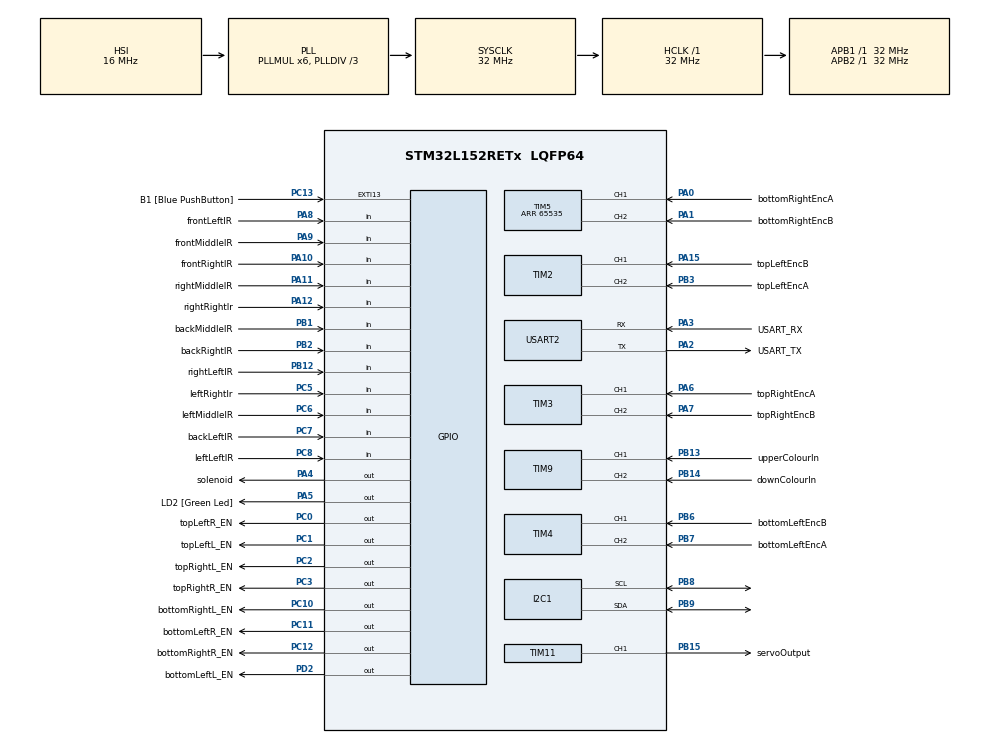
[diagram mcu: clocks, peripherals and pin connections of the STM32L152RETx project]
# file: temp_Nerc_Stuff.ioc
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Mcu.Family=STM32L1
Mcu.Name=STM32L152RETx
Mcu.Package=LQFP64
NVIC.PriorityGroup=NVIC_PRIORITYGROUP_0
NVIC.TIM9_IRQn=true\:0\:0\:false\:false\:true\:true\:true\:true
PA0-WKUP1.GPIO_Label=bottomRightEncA
PA0-WKUP1.Signal=S_TIM5_CH1
PA1.GPIO_Label=bottomRightEncB
PA1.Signal=S_TIM5_CH2
PA10.GPIO_Label=frontRightIR
PA10.Signal=GPIO_Input
PA11.GPIO_Label=rightMiddleIR
PA11.Signal=GPIO_Input
PA12.GPIO_Label=rightRightIr
PA12.Signal=GPIO_Input
PA13.GPIO_Label=TMS
PA13.Mode=Serial_Wire
PA13.Signal=SYS_JTMS-SWDIO
PA14.GPIO_Label=TCK
PA14.Mode=Serial_Wire
PA14.Signal=SYS_JTCK-SWCLK
PA15.GPIO_Label=topLeftEncB
PA15.Signal=S_TIM2_CH1_ETR
PA2.GPIO_Label=USART_TX
PA2.Mode=Asynchronous
PA2.Signal=USART2_TX
PA3.GPIO_Label=USART_RX
PA3.Mode=Asynchronous
PA3.Signal=USART2_RX
PA4.GPIO_Label=solenoid
PA4.Signal=GPIO_Output
PA5.GPIO_Label=LD2 [Green Led]
PA5.Signal=GPIO_Output
PA6.GPIO_Label=topRightEncA
PA6.Signal=S_TIM3_CH1
PA7.GPIO_Label=topRightEncB
PA7.Signal=S_TIM3_CH2
PA8.GPIO_Label=frontLeftIR
PA8.Signal=GPIO_Input
PA9.GPIO_Label=frontMiddleIR
PA9.Signal=GPIO_Input
PB1.GPIO_Label=backMiddleIR
PB1.Signal=GPIO_Input
PB12.GPIO_Label=rightLeftIR
PB12.Signal=GPIO_Input
PB13.GPIO_Label=upperColourIn
PB13.Signal=S_TIM9_CH1
PB14.GPIO_Label=downColourIn
PB14.Signal=S_TIM9_CH2
PB15.GPIO_Label=servoOutput
PB15.Signal=S_TIM11_CH1
PB2.GPIO_Label=backRightIR
PB2.Signal=GPIO_Input
PB3.GPIO_Label=topLeftEncA
PB3.Signal=S_TIM2_CH2
PB6.GPIO_Label=bottomLeftEncB
PB6.Signal=S_TIM4_CH1
PB7.GPIO_Label=bottomLeftEncA
PB7.Signal=S_TIM4_CH2
PB8.Mode=I2C
PB8.Signal=I2C1_SCL
PB9.Mode=I2C
PB9.Signal=I2C1_SDA
PC0.GPIO_Label=topLeftR_EN
PC0.Signal=GPIO_Output
PC1.GPIO_Label=topLeftL_EN
PC1.Signal=GPIO_Output
PC10.GPIO_Label=bottomRightL_EN
PC10.Signal=GPIO_Output
PC11.GPIO_Label=bottomLeftR_EN
PC11.Signal=GPIO_Output
PC12.GPIO_Label=bottomRightR_EN
PC12.Signal=GPIO_Output
PC13-WKUP2.GPIO_Label=B1 [Blue PushButton]
PC13-WKUP2.Signal=GPXTI13
PC14-OSC32_IN.Mode=LSE-External-Oscillator
PC14-OSC32_IN.Signal=RCC_OSC32_IN
PC15-OSC32_OUT.Mode=LSE-External-Oscillator
PC15-OSC32_OUT.Signal=RCC_OSC32_OUT
PC2.GPIO_Label=topRightL_EN
PC2.Signal=GPIO_Output
PC3.GPIO_Label=topRightR_EN
PC3.Signal=GPIO_Output
PC5.GPIO_Label=leftRightIr
PC5.Signal=GPIO_Input
PC6.GPIO_Label=leftMiddleIR
PC6.Signal=GPIO_Input
PC7.GPIO_Label=backLeftIR
PC7.Signal=GPIO_Input
PC8.GPIO_Label=leftLeftIR
PC8.Signal=GPIO_Input
PD2.GPIO_Label=bottomLeftL_EN
PD2.Signal=GPIO_Output
PH0-OSC_IN.Mode=HSE-External-Clock-Source
PH0-OSC_IN.Signal=RCC_OSC_IN
PH1-OSC_OUT.Signal=RCC_OSC_OUT
ProjectManager.HeapSize=0x200
ProjectManager.StackSize=0x400
ProjectManager.TargetToolchain=STM32CubeIDE
RCC.48MHZClocksFreq_Value=48000000
RCC.AHBFreq_Value=32000000
RCC.APB1Freq_Value=32000000
RCC.APB1TimFreq_Value=32000000
RCC.APB2Freq_Value=32000000
RCC.APB2TimFreq_Value=32000000
RCC.HCLKFreq_Value=32000000
RCC.HSE_VALUE=8000000
RCC.HSI_VALUE=16000000
RCC.MSI_VALUE=2097000
RCC.PLLDIV=RCC_PLL_DIV3
RCC.PLLMUL=RCC_PLL_MUL6
RCC.RTCClockSelectionVirtual=RCC_RTCCLKSOURCE_LSE
RCC.SYSCLKFreq_VALUE=32000000
RCC.SYSCLKSource=RCC_SYSCLKSOURCE_PLLCLK
RCC.USBOutput=48000000
RCC.VCOOutputFreq_Value=96000000
SH.S_TIM11_CH1.0=TIM11_CH1,PWM Generation1 CH1
SH.S_TIM2_CH1_ETR.0=TIM2_CH1,Encoder_Interface
SH.S_TIM2_CH2.0=TIM2_CH2,Encoder_Interface
SH.S_TIM3_CH1.0=TIM3_CH1,Encoder_Interface
SH.S_TIM3_CH2.0=TIM3_CH2,Encoder_Interface
SH.S_TIM4_CH1.0=TIM4_CH1,Encoder_Interface
SH.S_TIM4_CH2.0=TIM4_CH2,Encoder_Interface
SH.S_TIM5_CH1.0=TIM5_CH1,Encoder_Interface
SH.S_TIM5_CH2.0=TIM5_CH2,Encoder_Interface
SH.S_TIM9_CH1.0=TIM9_CH1,Input_Capture1_from_TI1
SH.S_TIM9_CH2.0=TIM9_CH2,Input_Capture2_from_TI2
TIM11.Channel=TIM_CHANNEL_1
TIM11.Period=19999
TIM11.Prescaler=31
TIM11.Pulse=1200
TIM2.EncoderMode=TIM_ENCODERMODE_TI12
TIM2.IC1Filter=10
TIM2.IC2Filter=10
TIM3.EncoderMode=TIM_ENCODERMODE_TI12
TIM3.IC1Filter=10
TIM3.IC2Filter=10
TIM4.EncoderMode=TIM_ENCODERMODE_TI12
TIM4.IC1Filter=10
TIM4.IC2Filter=10
TIM5.EncoderMode=TIM_ENCODERMODE_TI12
TIM5.IC1Filter=10
TIM5.IC2Filter=10
TIM5.Period=65535
TIM9.Channel-Input_Capture1_from_TI1=TIM_CHANNEL_1
TIM9.Channel-Input_Capture2_from_TI2=TIM_CHANNEL_2
USART2.VirtualMode=VM_ASYNC
VP_TIM11_VS_ClockSourceINT.Mode=Internal
VP_TIM9_VS_ClockSourceINT.Mode=Internal
board=NUCLEO-L152RE

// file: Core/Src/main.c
/* USER CODE BEGIN Header */
/**
  ******************************************************************************
  * @file           : main.c
  * @brief          : Main program body
  ******************************************************************************
  * @attention
  *
  * Copyright (c) 2026 STMicroelectronics.
  * All rights reserved.
  *
  * This software is licensed under terms that can be found in the LICENSE file
  * in the root directory of this software component.
  * If no LICENSE file comes with this software, it is provided AS-IS.
  *
  ******************************************************************************
  */
/* USER CODE END Header */
#include "main.h"

/* USER CODE BEGIN Includes */
#include <stdio.h>
/* USER CODE END Includes */

/* USER CODE BEGIN PTD */
volatile int rawVal2 = 0;
volatile int rawVal3 = 0;
volatile int rawVal4 = 0;
volatile int rawVal5 = 0;
volatile int leftIr = 0;
volatile int middleIr = 0;
volatile int rightIr = 0;

volatile uint16_t captureValueUp = 0;
volatile uint16_t previousCaptureValueUp = 0;
volatile uint32_t frequencyUp = 0;

volatile uint16_t captureValueDown = 0;
volatile uint16_t previousCaptureValueDown = 0;
volatile uint32_t frequencyDown = 0;

uint32_t timerFreq;

typedef struct
{
	double intState;
	double drevState;
	int reached;
	int32_t totalPos;
	uint16_t prevPos;
} pidState;

typedef struct
{
	int pin1;
	int pin2;
	uint16_t rightEnPin;
	uint16_t leftEnPin;
	GPIO_TypeDef * rightEnPort;
	GPIO_TypeDef * leftEnPort;
	double kp;
	double ki;
	double kd;
	double kf;
	TIM_HandleTypeDef* encTimer;
} portsAndPins;

typedef struct
{
	uint16_t leftPin;
	GPIO_TypeDef * leftPort;
	uint16_t middlePin;
	GPIO_TypeDef * middlePort;
	uint16_t rightPin;
	GPIO_TypeDef * rightPort;
} irPins;
/* USER CODE END PTD */

/* USER CODE BEGIN PD */
#define PCA9685_ADDRESS (0x40 << 1)
#define PCA9685_MODE1         0x0
#define PCA9685_PRE_SCALE     0xFE
#define PCA9685_LED0_ON_L     0x6
#define PCA9685_MODE1_SLEEP_BIT      4
#define PCA9685_MODE1_AI_BIT         5
#define PCA9685_MODE1_RESTART_BIT    7
/* USER CODE END PD */

I2C_HandleTypeDef hi2c1;

TIM_HandleTypeDef htim2;
TIM_HandleTypeDef htim3;
TIM_HandleTypeDef htim4;
TIM_HandleTypeDef htim5;
TIM_HandleTypeDef htim9;
TIM_HandleTypeDef htim11;

UART_HandleTypeDef huart2;

/* USER CODE BEGIN PV */
//first ku = 2.75 and tu is 4.50143 second ku = 3.45 and tu is 4.5162 third ku is 3.35 and tu is 4.730475 foruth ku = 3.15 and tu = 4.5153
//first ku = 3.85 and tu is 7.49915 second ku = 4.4 and tu is 7.34447 third ku is 4.35 and tu is 7.7961 foruth ku = 3.9 and tu = 7.39478
const portsAndPins motors[4] = {{0, 1, topLeftR_EN_Pin, topLeftL_EN_Pin, topLeftR_EN_GPIO_Port, topLeftL_EN_GPIO_Port, 1.7325, 27.723, 0, 0.256, &htim2},
							{2, 3, topRightR_EN_Pin, topRightL_EN_Pin, topRightR_EN_GPIO_Port, topRightL_EN_GPIO_Port, 1.98, 32.371, 0, 0.276,&htim3},
							{4, 5, bottomLeftR_EN_Pin, bottomLeftL_EN_Pin, bottomLeftR_EN_GPIO_Port, bottomLeftL_EN_GPIO_Port, 1.9575, 30.130, 0, 0.248,&htim4},
							{6, 7, bottomRightR_EN_Pin, bottomRightL_EN_Pin, bottomRightR_EN_GPIO_Port, bottomRightL_EN_GPIO_Port, 1.755, 28.480, 0, 0.276,&htim5}};

const irPins irSensors[4] = {{frontLeftIR_Pin, frontLeftIR_GPIO_Port, frontMiddleIR_Pin, frontMiddleIR_GPIO_Port, frontRightIR_Pin, frontRightIR_GPIO_Port},
						{rightLeftIR_Pin, rightLeftIR_GPIO_Port, rightMiddleIR_Pin, rightMiddleIR_GPIO_Port, rightRightIr_Pin, rightRightIr_GPIO_Port},
						{backLeftIR_Pin, backLeftIR_GPIO_Port, backMiddleIR_Pin, backMiddleIR_GPIO_Port, backRightIR_Pin, backRightIR_GPIO_Port},
						{leftLeftIR_Pin, leftLeftIR_GPIO_Port, leftMiddleIR_Pin, leftMiddleIR_GPIO_Port, leftRightIr_Pin, leftRightIr_GPIO_Port}};

const int adjustedTargetRatios[4][4] = {{1, 1, 1, 1}, {1, -1, -1, 1}, {1, -1, 1, -1}, {0, 1, 1, 0}};
const double distanceAdjust[4] = {1, 1.0209345, 1, 1.27};
const int FORWARD = 1, BACKWARDS = 0, RIGHT = 1, LEFT = 0;
const double kpp = 3.9, kii = 0, kdd = 0, period = 0.01, alpha = 0.3;
const int intMax = 40, maxPwm = 4095, maxSpeed = 13000, minSpeed = 2000, speedAdjust = 750, breakDistance = 500, quarterTurn = 4875, upBlueFreqMin = 2100, downBlueFreqMin = 1250;

/* USER CODE END PV */

void SystemClock_Config(void);
static void MX_GPIO_Init(void);
static void MX_USART2_UART_Init(void);
static void MX_TIM2_Init(void);
static void MX_TIM3_Init(void);
static void MX_TIM4_Init(void);
static void MX_TIM5_Init(void);
static void MX_I2C1_Init(void);
static void MX_TIM11_Init(void);
static void MX_TIM9_Init(void);

/* USER CODE BEGIN 0 */

int _write(int file, char *ptr, int len)
{
	HAL_UART_Transmit(&huart2, (uint8_t *)ptr, len, HAL_MAX_DELAY);
	return len;
}

void PCA9685_SetBit(uint8_t Register, uint8_t Bit, uint8_t Value)
{
  uint8_t readValue;
  // Read all 8 bits and set only one bit to 0/1 and write all 8 bits back
  HAL_I2C_Mem_Read(&hi2c1, PCA9685_ADDRESS, Register, I2C_MEMADD_SIZE_8BIT, &readValue, 1, 10);
  if (Value == 0) readValue &= ~(1 << Bit);
  else readValue |= (1 << Bit);
  HAL_I2C_Mem_Write(&hi2c1, PCA9685_ADDRESS, Register, I2C_MEMADD_SIZE_8BIT, &readValue, 1, 10);
  HAL_Delay(1);
}

void PCA9685_SetPWMFrequency(uint16_t frequency)
{
  uint8_t prescale;
  if(frequency >= 1526) prescale = 0x03;
  else if(frequency <= 24) prescale = 0xFF;
  //  internal 25 MHz oscillator as in the datasheet page no 1/52
  else prescale = 25000000 / (4096 * frequency);
  // prescale changes 3 to 255 for 1526Hz to 24Hz as in the datasheet page no 1/52
  PCA9685_SetBit(PCA9685_MODE1, PCA9685_MODE1_SLEEP_BIT, 1);
  HAL_I2C_Mem_Write(&hi2c1, PCA9685_ADDRESS, PCA9685_PRE_SCALE, I2C_MEMADD_SIZE_8BIT, &prescale, 1, 10);
  PCA9685_SetBit(PCA9685_MODE1, PCA9685_MODE1_SLEEP_BIT, 0);
  PCA9685_SetBit(PCA9685_MODE1, PCA9685_MODE1_RESTART_BIT, 1);
}

void PCA9685_Init(uint16_t frequency)
{
  PCA9685_SetPWMFrequency(frequency); // 50 Hz for servo
  PCA9685_SetBit(PCA9685_MODE1, PCA9685_MODE1_AI_BIT, 1);
}

void PCA9685_SetPWM(uint8_t Channel, uint16_t OnTime, uint16_t OffTime)
{
  uint8_t registerAddress;
  uint8_t pwm[4];
  registerAddress = PCA9685_LED0_ON_L + (4 * Channel);
  pwm[0] = OnTime & 0xFF;
  pwm[1] = OnTime>>8;
  pwm[2] = OffTime & 0xFF;
  pwm[3] = OffTime>>8;
  HAL_I2C_Mem_Write(&hi2c1, PCA9685_ADDRESS, registerAddress, I2C_MEMADD_SIZE_8BIT, pwm, 4, 10);
}

void HAL_TIM_IC_CaptureCallback(TIM_HandleTypeDef *htim)
{
 if (htim->Channel == HAL_TIM_ACTIVE_CHANNEL_1)
 {
	 captureValueUp = HAL_TIM_ReadCapturedValue(htim, TIM_CHANNEL_1);
	 if ((captureValueUp - previousCaptureValueUp) != 0) frequencyUp = timerFreq / (captureValueUp - previousCaptureValueUp);
	 previousCaptureValueUp = captureValueUp;
 }
 if (htim->Channel == HAL_TIM_ACTIVE_CHANNEL_2)
 {
	 captureValueDown = HAL_TIM_ReadCapturedValue(htim, TIM_CHANNEL_2);
	 if ((captureValueDown - previousCaptureValueDown) != 0) frequencyDown = timerFreq / (captureValueDown - previousCaptureValueDown);
	 previousCaptureValueDown = captureValueDown;
 }
}

void shoot()
{
	HAL_GPIO_WritePin(solenoid_GPIO_Port, solenoid_Pin, GPIO_PIN_SET);
	HAL_Delay(20);
	HAL_GPIO_WritePin(solenoid_GPIO_Port, solenoid_Pin, GPIO_PIN_RESET);
	HAL_Delay(100);
}

int scanColour()
{
	__HAL_TIM_SET_COMPARE(&htim11, TIM_CHANNEL_1, 1200);
	HAL_Delay(500);
	frequencyUp = 0;
	frequencyDown = 0;
	int shotsFired = 0;
	HAL_TIM_IC_Start_IT(&htim9, TIM_CHANNEL_1);
	HAL_TIM_IC_Start_IT(&htim9, TIM_CHANNEL_2);
	HAL_Delay(25);
	HAL_TIM_IC_Stop_IT(&htim9, TIM_CHANNEL_1);
	HAL_TIM_IC_Stop_IT(&htim9, TIM_CHANNEL_2);
	if (frequencyUp != 0 && frequencyUp >= upBlueFreqMin)
	{
		shoot();
		shotsFired++;
	}
	if (frequencyDown !=0 && frequencyDown >= downBlueFreqMin)
	{
		__HAL_TIM_SET_COMPARE(&htim11, TIM_CHANNEL_1, 1500);
		HAL_Delay(500);
		shoot();
		shotsFired++;
	}
	HAL_Delay(500);
	__HAL_TIM_SET_COMPARE(&htim11, TIM_CHANNEL_1, 1200);
	HAL_Delay(270);
	return shotsFired;
}

double updateEncoder(pidState *positions, int index)
{
	int16_t current = __HAL_TIM_GET_COUNTER(motors[index].encTimer);
	int16_t diff = (int16_t)(current - positions->prevPos);
	positions->totalPos += diff;
	positions->prevPos = current;
	return (diff / period) * alpha + ((1 - alpha) * positions->drevState);
}

void oneWord(int speed, int direction, int index)
{
	PCA9685_SetPWM(motors[index].pin1, 0, direction == FORWARD ? speed : 0);
	PCA9685_SetPWM(motors[index].pin2, 0, direction == FORWARD ? 0 : speed);
}

void stop()
{
	for (int index = 0; index < 4; index++)
	{
		PCA9685_SetPWM(motors[index].pin1, 0, 0);
		PCA9685_SetPWM(motors[index].pin2, 0, 0);
	}
}

void breaking(int index)
{
	PCA9685_SetPWM(motors[index].pin1, 0, 4095);
	PCA9685_SetPWM(motors[index].pin2, 0, 4095);
}

//void sideways(int speed, int direction, int index)
//{
//	if (index == 0 || index == 3)
//	{
//		PCA9685_SetPWM(motors[index].pin1, 0, direction == RIGHT ? speed : 0);
//		PCA9685_SetPWM(motors[index].pin2, 0, direction == RIGHT ? 0 : speed);
//	}
//	else
//	{
//		PCA9685_SetPWM(motors[index].pin1, 0, direction == RIGHT ? 0 : speed);
//		PCA9685_SetPWM(motors[index].pin2, 0, direction == RIGHT ? speed : 0);
//	}
//}

//void rotate(int speed, int direction, int index)
//{
//	if (index == 0 || index == 2)
//	{
//		PCA9685_SetPWM(motors[index].pin1, 0, direction == RIGHT ? speed : 0);
//		PCA9685_SetPWM(motors[index].pin2, 0, direction == RIGHT ? 0 : speed);
//	}
//	else
//	{
//		PCA9685_SetPWM(motors[index].pin1, 0, direction == RIGHT ? 0 : speed);
//		PCA9685_SetPWM(motors[index].pin2, 0, direction == RIGHT ? speed : 0);
//	}
//}
//
//void Diagonal(const int speed, const int sidewayDir, const int oneWayDir)
//{
//	for (int index = 0; index < 4; index++)
//	{
//		__HAL_TIM_SET_COMPARE(motors[index].pwmTimer, motors[index].channel, speed);
//		if (sidewayDir == RIGHT && (index == 0 || index == 3))
//		{
//			HAL_GPIO_WritePin(motors[index].pin1Port, motors[index].pin1Pin, oneWayDir == FORWARD ? GPIO_PIN_SET : GPIO_PIN_RESET);
//			HAL_GPIO_WritePin(motors[index].pin2Port, motors[index].pin2Pin, oneWayDir == FORWARD ? GPIO_PIN_RESET : GPIO_PIN_SET);
//		}
//		else if (sidewayDir == LEFT && (index == 1 || index == 2))
//		{
//			HAL_GPIO_WritePin(motors[index].pin1Port, motors[index].pin1Pin, oneWayDir == FORWARD ? GPIO_PIN_RESET : GPIO_PIN_SET);
//			HAL_GPIO_WritePin(motors[index].pin2Port, motors[index].pin2Pin, oneWayDir == FORWARD ? GPIO_PIN_SET : GPIO_PIN_RESET);
//		}
//    }
//}

double updatePid(pidState *pid, double error, double velocity, int index)
{
	double propVal = 0, intVal = 0, dervVal = 0;
	propVal = motors[index].kp * error;
	pid->intState += error * period;
	dervVal = motors[index].kd * ((velocity - pid->drevState) / period);
	pid->intState = pid->intState > intMax ? intMax : pid->intState;
	pid->intState = pid->intState < -intMax ? -intMax : pid->intState;
	intVal = pid->intState * motors[index].ki;
	pid->drevState = velocity;
	return propVal + intVal + dervVal;
}

void onewordPid(double target, int mode, int irEnable, int junction, int maxSpeeeed)
{
	int prevJuncPos = 0;
	int junctionCount = 0;
	target = target * distanceAdjust[mode];
	int targetSpeed = maxSpeeeed;
	int adjustRatio = 0;
	uint32_t prevTick = HAL_GetTick();
	pidState motorState[4];
	for (int index = 0; index < 4; index++)
	{
		__HAL_TIM_SET_COUNTER(motors[index].encTimer, 0);
		motorState[index].drevState = 0;
		motorState[index].reached = 0;
		motorState[index].intState = 0;
		motorState[index].prevPos = 0;
		motorState[index].totalPos = 0;
		HAL_GPIO_WritePin(motors[index].rightEnPort, motors[index].rightEnPin, GPIO_PIN_SET);
		HAL_GPIO_WritePin(motors[index].leftEnPort, motors[index].leftEnPin, GPIO_PIN_SET);

	}
	while (1)
	{
		if (HAL_GetTick() - prevTick >= (uint32_t)(period * 1000))
		{
			if ((mode == 0 || mode == 1) && irEnable)
			{
				irPins irRay = irSensors[mode + (target < 0 ? 2 : 0)];
				leftIr = HAL_GPIO_ReadPin(irRay.leftPort, irRay.leftPin);
				middleIr = HAL_GPIO_ReadPin(irRay.middlePort, irRay.middlePin);
				rightIr = HAL_GPIO_ReadPin(irRay.rightPort, irRay.rightPin);
				if (leftIr && !middleIr) adjustRatio = -2;
				else if (leftIr && middleIr) adjustRatio = -1;
				else if (rightIr && !middleIr) adjustRatio = 2;
				else if (rightIr && middleIr) adjustRatio = 1;
				else adjustRatio = 0;
			}

			int32_t averagePosition = ((motorState[0].totalPos * adjustedTargetRatios[mode][0]) +
										(motorState[1].totalPos * adjustedTargetRatios[mode][1]) +
										(motorState[2].totalPos * adjustedTargetRatios[mode][2]) +
										(motorState[3].totalPos * adjustedTargetRatios[mode][3])) / (mode == 3 ? 2 : 4);

			if (junction)
			{
				irPins junctionIr = irSensors[(mode == 0 ? (junction < 0 ? 3 : 1) : (junction < 0 ? 0 : 2))];
				if (HAL_GPIO_ReadPin(junctionIr.middlePort, junctionIr.middlePin) && (averagePosition - prevJuncPos >= 3350))
				{
					prevJuncPos = averagePosition;
					junctionCount++;
				}
			}

			printf("%d,%d,%d,%d\n", rawVal2, rawVal3, rawVal4, rawVal5);
			for (int index = 0; index < 4; index++)
			{
				double currentSpeed = updateEncoder(&motorState[index], index);
				if (index == 0) rawVal2 = currentSpeed;
				if (index == 1) rawVal3 = currentSpeed;
				if (index == 2) rawVal4 = currentSpeed;
				if (index == 3) rawVal5 = currentSpeed;
				if (!junction && motorState[index].reached) continue;

				int distanceAway = adjustedTargetRatios[mode][index] * (target - averagePosition);
				if (distanceAway > breakDistance) targetSpeed = maxSpeeeed;
				else if (distanceAway < -breakDistance) targetSpeed = -maxSpeeeed;
				else
				{
					motorState[index].intState = 0;
					targetSpeed = (maxSpeeeed * distanceAway) / breakDistance;
					if (targetSpeed > 0 && targetSpeed < minSpeed) targetSpeed = minSpeed;
					if (targetSpeed < 0 && targetSpeed > -minSpeed) targetSpeed = -minSpeed;
				}
				if (junction) targetSpeed = maxSpeeeed;

				if (adjustRatio && (index == 0 || index == 2)) targetSpeed += speedAdjust * adjustRatio;
				else if (adjustRatio) targetSpeed += -(speedAdjust * adjustRatio);
				targetSpeed = targetSpeed > maxSpeeeed ? maxSpeeeed : targetSpeed;
				targetSpeed = targetSpeed < -maxSpeeeed ? -maxSpeeeed : targetSpeed;

				int error = targetSpeed - currentSpeed;
				double pwmVal = updatePid(&motorState[index], error, currentSpeed, index) + (motors[index].kf * targetSpeed);
				if (adjustedTargetRatios[mode][index] == 0) pwmVal = 0;
				int absPwm = (int)(pwmVal < 0 ? -pwmVal : pwmVal);
//				absPwm = 4095; pwmVal = 4095;
				oneWord(absPwm > maxPwm ? maxPwm : absPwm, pwmVal < 0 ? BACKWARDS : FORWARD, index);

				if (!junction && distanceAway < 50 && distanceAway > -50)
				{
					motorState[index].reached = 1;
					motorState[index].intState = 0;
				}
				else motorState[index].reached = 0;
			}
			prevTick += (uint32_t)(period * 1000);
		}
		if ((!junction && (motorState[0].reached && motorState[1].reached && motorState[2].reached && motorState[3].reached)) ||
			(junction && junctionCount == (junction < 0 ? -junction : junction)))
		{
			for (int index = 0; index < 4; index++) breaking(index);
			break;
		}
	}
}

void allign(int straighSensor, int sidewaysSensor)
{
	irPins straightIrRay = irSensors[straighSensor < 0 ? 2 : 0];
	irPins sidewaysIrRay = irSensors[sidewaysSensor < 0 ? 3 : 1];
	int straightLeftIr = HAL_GPIO_ReadPin(straightIrRay.leftPort, straightIrRay.leftPin);
	int straighMiddleIr = HAL_GPIO_ReadPin(straightIrRay.middlePort, straightIrRay.middlePin);
	int straightRightIr = HAL_GPIO_ReadPin(straightIrRay.rightPort, straightIrRay.rightPin);

	int sidewaysLeftIr = HAL_GPIO_ReadPin(sidewaysIrRay.leftPort, sidewaysIrRay.leftPin);
	int sidewaysMiddleIr = HAL_GPIO_ReadPin(sidewaysIrRay.middlePort, sidewaysIrRay.middlePin);
	int sidewaysRightIr = HAL_GPIO_ReadPin(sidewaysIrRay.rightPort, sidewaysIrRay.rightPin);

	if (straightLeftIr && sidewaysLeftIr) onewordPid(-500, 2, 0, 0, 5000);
	else if (straightRightIr&& sidewaysRightIr) onewordPid(500, 2, 0, 0, 5000);
}

//void onewordPid(int target)
//{
//	uint32_t prevTick = HAL_GetTick();
//	pidState motorState[4];
//	for (int index = 0; index < 4; index++)
//	{
//		__HAL_TIM_SET_COUNTER(motors[index].encTimer, 0);
//		motorState[index].drevState = 0;
//		motorState[index].reached = 0;
//		motorState[index].intState = 0;
//		motorState[index].prevPos = 0;
//		motorState[index].totalPos = 0;
//	}
//	while (!(motorState[0].reached && motorState[1].reached && motorState[2].reached && motorState[3].reached))
//	{
//		rawVal2 = __HAL_TIM_GET_COUNTER(&htim2);
//		rawVal3 = __HAL_TIM_GET_COUNTER(&htim3);
//		rawVal4 = __HAL_TIM_GET_COUNTER(&htim4);
//		rawVal5 = __HAL_TIM_GET_COUNTER(&htim5);
//		if (HAL_GetTick() - prevTick >= 10)
//		{
//			for (int index = 0; index < 4; index++)
//			{
//				updateEncoder(&motorState[index], index);
//				int error = target - motorState[index].totalPos;
//				double speed = updatePid(&motorState[index], error, motorState[index].totalPos);
//				int absSpeed = speed < 0 ? speed * -1 : speed;
//				OneWord(absSpeed > maxSpeed ? maxSpeed : absSpeed, speed < 0 ? BACKWARDS : FORWARD, index);
//				if (error < 250 && error > -250) motorState[index].reached = 1;
//				else motorState[index].reached = 0;
//			}
//			prevTick = HAL_GetTick();
//		}
//	}
//	Stop();
//}

/* USER CODE END 0 */

int main(void)
{

  /* MCU Configuration--------------------------------------------------------*/

  /* Reset of all peripherals, Initializes the Flash interface and the Systick. */
  HAL_Init();

  /* Configure the system clock */
  SystemClock_Config();

  /* Initialize all configured peripherals */
  MX_GPIO_Init();
  MX_USART2_UART_Init();
  MX_TIM2_Init();
  MX_TIM3_Init();
  MX_TIM4_Init();
  MX_TIM5_Init();
  MX_I2C1_Init();
  MX_TIM11_Init();
  MX_TIM9_Init();
  /* USER CODE BEGIN 2 */
  extern UART_HandleTypeDef huart2;
  PCA9685_Init(1526);
  HAL_TIM_Encoder_Start(&htim2, TIM_CHANNEL_1);
  HAL_TIM_Encoder_Start(&htim2, TIM_CHANNEL_2);
  HAL_TIM_Encoder_Start(&htim3, TIM_CHANNEL_1);
  HAL_TIM_Encoder_Start(&htim3, TIM_CHANNEL_2);
  HAL_TIM_Encoder_Start(&htim4, TIM_CHANNEL_1);
  HAL_TIM_Encoder_Start(&htim4, TIM_CHANNEL_2);
  HAL_TIM_Encoder_Start(&htim5, TIM_CHANNEL_1);
  HAL_TIM_Encoder_Start(&htim5, TIM_CHANNEL_2);
  HAL_TIM_PWM_Start(&htim11, TIM_CHANNEL_1);

  for (int index = 0; index < 16; index++)
  {
	  if (index < 4)
	  {
		  HAL_GPIO_WritePin(motors[index].rightEnPort, motors[index].rightEnPin, GPIO_PIN_SET);
		  HAL_GPIO_WritePin(motors[index].leftEnPort, motors[index].leftEnPin, GPIO_PIN_SET);
	  }
	  PCA9685_SetPWM(index, 0, 0);
  }
  timerFreq = HAL_RCC_GetPCLK2Freq();
  /* USER CODE END 2 */

  /* Infinite loop */
  /* USER CODE BEGIN WHILE */
  //29400 for rotation
  HAL_Delay(500);
//  onewordPid(60000,0, 0, 0);

  onewordPid(25377.7331, 0, 1, 0, maxSpeed);
  onewordPid(2 * quarterTurn, 2, 0, 0, maxSpeed);
  onewordPid(40748.75, 0, 1, 0, maxSpeed);
  onewordPid(2 * quarterTurn, 2, 0, 0, maxSpeed);
  onewordPid(8616.8655, 0, 1, 0, maxSpeed);
  onewordPid(2 * quarterTurn, 2, 0, 0, maxSpeed);
  int s1 = scanColour();
  onewordPid(-2740.64, 1, 0, 0, maxSpeed);
  s1 += scanColour();
  if (s1 < 2) shoot();
  if (s1 == 0)
  {
	  __HAL_TIM_SET_COMPARE(&htim11, TIM_CHANNEL_1, 1500);
	  HAL_Delay(500);
	  shoot();
  }
  __HAL_TIM_SET_COMPARE(&htim11, TIM_CHANNEL_1, 1200);
  onewordPid(1370.32, 1, 0, 0, maxSpeed);
  onewordPid(-2 * quarterTurn, 2, 0, 0, maxSpeed);
  onewordPid(20374.379, 0, 1, 0, maxSpeed);
  onewordPid(-2 * quarterTurn, 2, 0, 0, maxSpeed);
  onewordPid(29224.66779, 0, 1, 0, maxSpeed);
  onewordPid(2 * quarterTurn, 2, 0, 0, maxSpeed);
  onewordPid(3255, 0, 1, 0, maxSpeed);
  scanColour();
  onewordPid(-2673.80304, 1, 0, 0, maxSpeed);
  scanColour();
  onewordPid(1336.90152197, 1, 0, 0, maxSpeed);
  onewordPid(-10187.189, 1, 0, 0, maxSpeed);
  onewordPid(-23630, 0, 1, 0, maxSpeed);
  onewordPid(10187.189, 1, 0, 0, maxSpeed);
  onewordPid(4 * quarterTurn, 2, 0, 0, maxSpeed);
  onewordPid(16000, 3, 0, 0, maxSpeed);
  onewordPid((20374.379 * 1.30943) + 8000, 0, 1, 0, maxSpeed);
  onewordPid(-2 * quarterTurn, 2, 0, 0, maxSpeed);
  onewordPid(13944, 0, 1, 0, maxSpeed);
  onewordPid(-1336.90152197, 1, 0, 0, maxSpeed);
  scanColour();
  onewordPid(2673.80304, 1, 0, 0, maxSpeed);
  scanColour();
  onewordPid(-1336.90152197, 1, 0, 0, maxSpeed);
  onewordPid(-24300, 1, 0, 0, maxSpeed);

//  onewordPid(-20374.379, 1, 1);
//  -25838.9641
//  onewordPid(-25544.845, 1, 1, 0, maxSpeed);
//  onewordPid(20374.379, 0, 1, 0, maxSpeed);
//  onewordPid(20374.379, 1, 1, 0, maxSpeed);
//  onewordPid(61123.137, 0, 1, 0, maxSpeed);
//  onewordPid(-10187.189, 1, 0, 0, maxSpeed);
//  onewordPid(-10187.189, 0, 0, 0, maxSpeed);
//  onewordPid(quarterTurn * -2, 2, 0, 0, maxSpeed);
//  onewordPid(16000, 3, 0, 0, maxSpeed);
//  onewordPid((20374.379 * 1.30943) + 8000, 0, 1, 0, 10000);
  while (1)
  {
	  leftIr = HAL_GPIO_ReadPin(frontLeftIR_GPIO_Port, frontLeftIR_Pin);
	  middleIr = HAL_GPIO_ReadPin(frontMiddleIR_GPIO_Port, frontMiddleIR_Pin);
	  rightIr = HAL_GPIO_ReadPin(frontRightIR_GPIO_Port, frontRightIR_Pin);
	  //	  __HAL_TIM_SET_COMPARE(motors[1].pwmTimer, motors[1].channel, 500);
	  //	  HAL_GPIO_WritePin(motors[1].pin1Port, motors[1].pin1Pin, GPIO_PIN_SET);
	  //	  HAL_GPIO_WritePin(motors[1].pin2Port, motors[1].pin2Pin, GPIO_PIN_RESET);
    /* USER CODE END WHILE */

  }
}

void SystemClock_Config(void)
{
  RCC_OscInitTypeDef RCC_OscInitStruct = {0};
  RCC_ClkInitTypeDef RCC_ClkInitStruct = {0};

  /** Configure the main internal regulator output voltage
  */
  __HAL_PWR_VOLTAGESCALING_CONFIG(PWR_REGULATOR_VOLTAGE_SCALE1);

  /** Initializes the RCC Oscillators according to the specified parameters
  * in the RCC_OscInitTypeDef structure.
  */
  RCC_OscInitStruct.OscillatorType = RCC_OSCILLATORTYPE_HSI;
  RCC_OscInitStruct.HSIState = RCC_HSI_ON;
  RCC_OscInitStruct.HSICalibrationValue = RCC_HSICALIBRATION_DEFAULT;
  RCC_OscInitStruct.PLL.PLLState = RCC_PLL_ON;
  RCC_OscInitStruct.PLL.PLLSource = RCC_PLLSOURCE_HSI;
  RCC_OscInitStruct.PLL.PLLMUL = RCC_PLL_MUL6;
  RCC_OscInitStruct.PLL.PLLDIV = RCC_PLL_DIV3;
  if (HAL_RCC_OscConfig(&RCC_OscInitStruct) != HAL_OK)
  {
    Error_Handler();
  }

  /** Initializes the CPU, AHB and APB buses clocks
  */
  RCC_ClkInitStruct.ClockType = RCC_CLOCKTYPE_HCLK|RCC_CLOCKTYPE_SYSCLK
                              |RCC_CLOCKTYPE_PCLK1|RCC_CLOCKTYPE_PCLK2;
  RCC_ClkInitStruct.SYSCLKSource = RCC_SYSCLKSOURCE_PLLCLK;
  RCC_ClkInitStruct.AHBCLKDivider = RCC_SYSCLK_DIV1;
  RCC_ClkInitStruct.APB1CLKDivider = RCC_HCLK_DIV1;
  RCC_ClkInitStruct.APB2CLKDivider = RCC_HCLK_DIV1;

  if (HAL_RCC_ClockConfig(&RCC_ClkInitStruct, FLASH_LATENCY_1) != HAL_OK)
  {
    Error_Handler();
  }
}

static void MX_I2C1_Init(void)
{

  hi2c1.Instance = I2C1;
  hi2c1.Init.ClockSpeed = 100000;
  hi2c1.Init.DutyCycle = I2C_DUTYCYCLE_2;
  hi2c1.Init.OwnAddress1 = 0;
  hi2c1.Init.AddressingMode = I2C_ADDRESSINGMODE_7BIT;
  hi2c1.Init.DualAddressMode = I2C_DUALADDRESS_DISABLE;
  hi2c1.Init.OwnAddress2 = 0;
  hi2c1.Init.GeneralCallMode = I2C_GENERALCALL_DISABLE;
  hi2c1.Init.NoStretchMode = I2C_NOSTRETCH_DISABLE;
  if (HAL_I2C_Init(&hi2c1) != HAL_OK)
  {
    Error_Handler();
  }

}

static void MX_TIM2_Init(void)
{

  TIM_Encoder_InitTypeDef sConfig = {0};
  TIM_MasterConfigTypeDef sMasterConfig = {0};

  htim2.Instance = TIM2;
  htim2.Init.Prescaler = 0;
  htim2.Init.CounterMode = TIM_COUNTERMODE_UP;
  htim2.Init.Period = 65535;
  htim2.Init.ClockDivision = TIM_CLOCKDIVISION_DIV1;
  htim2.Init.AutoReloadPreload = TIM_AUTORELOAD_PRELOAD_DISABLE;
  sConfig.EncoderMode = TIM_ENCODERMODE_TI12;
  sConfig.IC1Polarity = TIM_ICPOLARITY_RISING;
  sConfig.IC1Selection = TIM_ICSELECTION_DIRECTTI;
  sConfig.IC1Prescaler = TIM_ICPSC_DIV1;
  sConfig.IC1Filter = 10;
  sConfig.IC2Polarity = TIM_ICPOLARITY_RISING;
  sConfig.IC2Selection = TIM_ICSELECTION_DIRECTTI;
  sConfig.IC2Prescaler = TIM_ICPSC_DIV1;
  sConfig.IC2Filter = 10;
  if (HAL_TIM_Encoder_Init(&htim2, &sConfig) != HAL_OK)
  {
    Error_Handler();
  }
  sMasterConfig.MasterOutputTrigger = TIM_TRGO_RESET;
  sMasterConfig.MasterSlaveMode = TIM_MASTERSLAVEMODE_DISABLE;
  if (HAL_TIMEx_MasterConfigSynchronization(&htim2, &sMasterConfig) != HAL_OK)
  {
    Error_Handler();
  }

}

static void MX_TIM3_Init(void)
{

  TIM_Encoder_InitTypeDef sConfig = {0};
  TIM_MasterConfigTypeDef sMasterConfig = {0};

  htim3.Instance = TIM3;
  htim3.Init.Prescaler = 0;
  htim3.Init.CounterMode = TIM_COUNTERMODE_UP;
  htim3.Init.Period = 65535;
  htim3.Init.ClockDivision = TIM_CLOCKDIVISION_DIV1;
  htim3.Init.AutoReloadPreload = TIM_AUTORELOAD_PRELOAD_DISABLE;
  sConfig.EncoderMode = TIM_ENCODERMODE_TI12;
  sConfig.IC1Polarity = TIM_ICPOLARITY_RISING;
  sConfig.IC1Selection = TIM_ICSELECTION_DIRECTTI;
  sConfig.IC1Prescaler = TIM_ICPSC_DIV1;
  sConfig.IC1Filter = 10;
  sConfig.IC2Polarity = TIM_ICPOLARITY_RISING;
  sConfig.IC2Selection = TIM_ICSELECTION_DIRECTTI;
  sConfig.IC2Prescaler = TIM_ICPSC_DIV1;
  sConfig.IC2Filter = 10;
  if (HAL_TIM_Encoder_Init(&htim3, &sConfig) != HAL_OK)
  {
    Error_Handler();
  }
  sMasterConfig.MasterOutputTrigger = TIM_TRGO_RESET;
  sMasterConfig.MasterSlaveMode = TIM_MASTERSLAVEMODE_DISABLE;
  if (HAL_TIMEx_MasterConfigSynchronization(&htim3, &sMasterConfig) != HAL_OK)
  {
    Error_Handler();
  }

}

static void MX_TIM4_Init(void)
{

  TIM_Encoder_InitTypeDef sConfig = {0};
  TIM_MasterConfigTypeDef sMasterConfig = {0};

  htim4.Instance = TIM4;
  htim4.Init.Prescaler = 0;
  htim4.Init.CounterMode = TIM_COUNTERMODE_UP;
  htim4.Init.Period = 65535;
  htim4.Init.ClockDivision = TIM_CLOCKDIVISION_DIV1;
  htim4.Init.AutoReloadPreload = TIM_AUTORELOAD_PRELOAD_DISABLE;
  sConfig.EncoderMode = TIM_ENCODERMODE_TI12;
  sConfig.IC1Polarity = TIM_ICPOLARITY_RISING;
  sConfig.IC1Selection = TIM_ICSELECTION_DIRECTTI;
  sConfig.IC1Prescaler = TIM_ICPSC_DIV1;
  sConfig.IC1Filter = 10;
  sConfig.IC2Polarity = TIM_ICPOLARITY_RISING;
  sConfig.IC2Selection = TIM_ICSELECTION_DIRECTTI;
  sConfig.IC2Prescaler = TIM_ICPSC_DIV1;
  sConfig.IC2Filter = 10;
  if (HAL_TIM_Encoder_Init(&htim4, &sConfig) != HAL_OK)
  {
    Error_Handler();
  }
  sMasterConfig.MasterOutputTrigger = TIM_TRGO_RESET;
  sMasterConfig.MasterSlaveMode = TIM_MASTERSLAVEMODE_DISABLE;
  if (HAL_TIMEx_MasterConfigSynchronization(&htim4, &sMasterConfig) != HAL_OK)
  {
    Error_Handler();
  }

}

static void MX_TIM5_Init(void)
{

  TIM_Encoder_InitTypeDef sConfig = {0};
  TIM_MasterConfigTypeDef sMasterConfig = {0};

  htim5.Instance = TIM5;
  htim5.Init.Prescaler = 0;
  htim5.Init.CounterMode = TIM_COUNTERMODE_UP;
  htim5.Init.Period = 65535;
  htim5.Init.ClockDivision = TIM_CLOCKDIVISION_DIV1;
  htim5.Init.AutoReloadPreload = TIM_AUTORELOAD_PRELOAD_DISABLE;
  sConfig.EncoderMode = TIM_ENCODERMODE_TI12;
  sConfig.IC1Polarity = TIM_ICPOLARITY_RISING;
  sConfig.IC1Selection = TIM_ICSELECTION_DIRECTTI;
  sConfig.IC1Prescaler = TIM_ICPSC_DIV1;
  sConfig.IC1Filter = 10;
  sConfig.IC2Polarity = TIM_ICPOLARITY_RISING;
  sConfig.IC2Selection = TIM_ICSELECTION_DIRECTTI;
  sConfig.IC2Prescaler = TIM_ICPSC_DIV1;
  sConfig.IC2Filter = 10;
  if (HAL_TIM_Encoder_Init(&htim5, &sConfig) != HAL_OK)
  {
    Error_Handler();
  }
  sMasterConfig.MasterOutputTrigger = TIM_TRGO_RESET;
  sMasterConfig.MasterSlaveMode = TIM_MASTERSLAVEMODE_DISABLE;
  if (HAL_TIMEx_MasterConfigSynchronization(&htim5, &sMasterConfig) != HAL_OK)
  {
    Error_Handler();
  }

}

static void MX_TIM9_Init(void)
{

  TIM_ClockConfigTypeDef sClockSourceConfig = {0};
  TIM_MasterConfigTypeDef sMasterConfig = {0};
  TIM_IC_InitTypeDef sConfigIC = {0};

  htim9.Instance = TIM9;
  htim9.Init.Prescaler = 0;
  htim9.Init.CounterMode = TIM_COUNTERMODE_UP;
  htim9.Init.Period = 65535;
  htim9.Init.ClockDivision = TIM_CLOCKDIVISION_DIV1;
  htim9.Init.AutoReloadPreload = TIM_AUTORELOAD_PRELOAD_DISABLE;
  if (HAL_TIM_Base_Init(&htim9) != HAL_OK)
  {
    Error_Handler();
  }
  sClockSourceConfig.ClockSource = TIM_CLOCKSOURCE_INTERNAL;
  if (HAL_TIM_ConfigClockSource(&htim9, &sClockSourceConfig) != HAL_OK)
  {
    Error_Handler();
  }
  if (HAL_TIM_IC_Init(&htim9) != HAL_OK)
  {
    Error_Handler();
  }
  sMasterConfig.MasterOutputTrigger = TIM_TRGO_RESET;
  sMasterConfig.MasterSlaveMode = TIM_MASTERSLAVEMODE_DISABLE;
  if (HAL_TIMEx_MasterConfigSynchronization(&htim9, &sMasterConfig) != HAL_OK)
  {
    Error_Handler();
  }
  sConfigIC.ICPolarity = TIM_INPUTCHANNELPOLARITY_RISING;
  sConfigIC.ICSelection = TIM_ICSELECTION_DIRECTTI;
  sConfigIC.ICPrescaler = TIM_ICPSC_DIV1;
  sConfigIC.ICFilter = 0;
  if (HAL_TIM_IC_ConfigChannel(&htim9, &sConfigIC, TIM_CHANNEL_1) != HAL_OK)
  {
    Error_Handler();
  }
  if (HAL_TIM_IC_ConfigChannel(&htim9, &sConfigIC, TIM_CHANNEL_2) != HAL_OK)
  {
    Error_Handler();
  }

}

static void MX_TIM11_Init(void)
{

  TIM_ClockConfigTypeDef sClockSourceConfig = {0};
  TIM_OC_InitTypeDef sConfigOC = {0};

  htim11.Instance = TIM11;
  htim11.Init.Prescaler = 31;
  htim11.Init.CounterMode = TIM_COUNTERMODE_UP;
  htim11.Init.Period = 19999;
  htim11.Init.ClockDivision = TIM_CLOCKDIVISION_DIV1;
  htim11.Init.AutoReloadPreload = TIM_AUTORELOAD_PRELOAD_DISABLE;
  if (HAL_TIM_Base_Init(&htim11) != HAL_OK)
  {
    Error_Handler();
  }
  sClockSourceConfig.ClockSource = TIM_CLOCKSOURCE_INTERNAL;
  if (HAL_TIM_ConfigClockSource(&htim11, &sClockSourceConfig) != HAL_OK)
  {
    Error_Handler();
  }
  if (HAL_TIM_PWM_Init(&htim11) != HAL_OK)
  {
    Error_Handler();
  }
  sConfigOC.OCMode = TIM_OCMODE_PWM1;
  sConfigOC.Pulse = 1200;
  sConfigOC.OCPolarity = TIM_OCPOLARITY_HIGH;
  sConfigOC.OCFastMode = TIM_OCFAST_DISABLE;
  if (HAL_TIM_PWM_ConfigChannel(&htim11, &sConfigOC, TIM_CHANNEL_1) != HAL_OK)
  {
    Error_Handler();
  }
  HAL_TIM_MspPostInit(&htim11);

}

static void MX_USART2_UART_Init(void)
{

  huart2.Instance = USART2;
  huart2.Init.BaudRate = 115200;
  huart2.Init.WordLength = UART_WORDLENGTH_8B;
  huart2.Init.StopBits = UART_STOPBITS_1;
  huart2.Init.Parity = UART_PARITY_NONE;
  huart2.Init.Mode = UART_MODE_TX_RX;
  huart2.Init.HwFlowCtl = UART_HWCONTROL_NONE;
  huart2.Init.OverSampling = UART_OVERSAMPLING_16;
  if (HAL_UART_Init(&huart2) != HAL_OK)
  {
    Error_Handler();
  }

}

static void MX_GPIO_Init(void)
{
  GPIO_InitTypeDef GPIO_InitStruct = {0};

  /* GPIO Ports Clock Enable */
  __HAL_RCC_GPIOC_CLK_ENABLE();
  __HAL_RCC_GPIOH_CLK_ENABLE();
  __HAL_RCC_GPIOA_CLK_ENABLE();
  __HAL_RCC_GPIOB_CLK_ENABLE();
  __HAL_RCC_GPIOD_CLK_ENABLE();

  /*Configure GPIO pin Output Level */
  HAL_GPIO_WritePin(GPIOC, topLeftR_EN_Pin|topLeftL_EN_Pin|topRightL_EN_Pin|topRightR_EN_Pin
                          |bottomRightL_EN_Pin|bottomLeftR_EN_Pin|bottomRightR_EN_Pin, GPIO_PIN_RESET);

  /*Configure GPIO pin Output Level */
  HAL_GPIO_WritePin(GPIOA, solenoid_Pin|LD2_Pin, GPIO_PIN_RESET);

  /*Configure GPIO pin Output Level */
  HAL_GPIO_WritePin(bottomLeftL_EN_GPIO_Port, bottomLeftL_EN_Pin, GPIO_PIN_RESET);

  /*Configure GPIO pin : B1_Pin */
  GPIO_InitStruct.Pin = B1_Pin;
  GPIO_InitStruct.Mode = GPIO_MODE_IT_RISING;
  GPIO_InitStruct.Pull = GPIO_NOPULL;
  HAL_GPIO_Init(B1_GPIO_Port, &GPIO_InitStruct);

  /*Configure GPIO pins : topLeftR_EN_Pin topLeftL_EN_Pin topRightL_EN_Pin topRightR_EN_Pin
                           bottomRightL_EN_Pin bottomLeftR_EN_Pin bottomRightR_EN_Pin */
  GPIO_InitStruct.Pin = topLeftR_EN_Pin|topLeftL_EN_Pin|topRightL_EN_Pin|topRightR_EN_Pin
                          |bottomRightL_EN_Pin|bottomLeftR_EN_Pin|bottomRightR_EN_Pin;
  GPIO_InitStruct.Mode = GPIO_MODE_OUTPUT_PP;
  GPIO_InitStruct.Pull = GPIO_NOPULL;
  GPIO_InitStruct.Speed = GPIO_SPEED_FREQ_LOW;
  HAL_GPIO_Init(GPIOC, &GPIO_InitStruct);

  /*Configure GPIO pins : solenoid_Pin LD2_Pin */
  GPIO_InitStruct.Pin = solenoid_Pin|LD2_Pin;
  GPIO_InitStruct.Mode = GPIO_MODE_OUTPUT_PP;
  GPIO_InitStruct.Pull = GPIO_NOPULL;
  GPIO_InitStruct.Speed = GPIO_SPEED_FREQ_LOW;
  HAL_GPIO_Init(GPIOA, &GPIO_InitStruct);

  /*Configure GPIO pins : leftRightIr_Pin leftMiddleIR_Pin backLeftIR_Pin leftLeftIR_Pin */
  GPIO_InitStruct.Pin = leftRightIr_Pin|leftMiddleIR_Pin|backLeftIR_Pin|leftLeftIR_Pin;
  GPIO_InitStruct.Mode = GPIO_MODE_INPUT;
  GPIO_InitStruct.Pull = GPIO_NOPULL;
  HAL_GPIO_Init(GPIOC, &GPIO_InitStruct);

  /*Configure GPIO pins : backMiddleIR_Pin backRightIR_Pin rightLeftIR_Pin */
  GPIO_InitStruct.Pin = backMiddleIR_Pin|backRightIR_Pin|rightLeftIR_Pin;
  GPIO_InitStruct.Mode = GPIO_MODE_INPUT;
  GPIO_InitStruct.Pull = GPIO_NOPULL;
  HAL_GPIO_Init(GPIOB, &GPIO_InitStruct);

  /*Configure GPIO pins : frontLeftIR_Pin frontMiddleIR_Pin frontRightIR_Pin rightMiddleIR_Pin
                           rightRightIr_Pin */
  GPIO_InitStruct.Pin = frontLeftIR_Pin|frontMiddleIR_Pin|frontRightIR_Pin|rightMiddleIR_Pin
                          |rightRightIr_Pin;
  GPIO_InitStruct.Mode = GPIO_MODE_INPUT;
  GPIO_InitStruct.Pull = GPIO_NOPULL;
  HAL_GPIO_Init(GPIOA, &GPIO_InitStruct);

  /*Configure GPIO pin : bottomLeftL_EN_Pin */
  GPIO_InitStruct.Pin = bottomLeftL_EN_Pin;
  GPIO_InitStruct.Mode = GPIO_MODE_OUTPUT_PP;
  GPIO_InitStruct.Pull = GPIO_NOPULL;
  GPIO_InitStruct.Speed = GPIO_SPEED_FREQ_LOW;
  HAL_GPIO_Init(bottomLeftL_EN_GPIO_Port, &GPIO_InitStruct);

}

void Error_Handler(void)
{
  __disable_irq();
  while (1)
  {
  }
}
